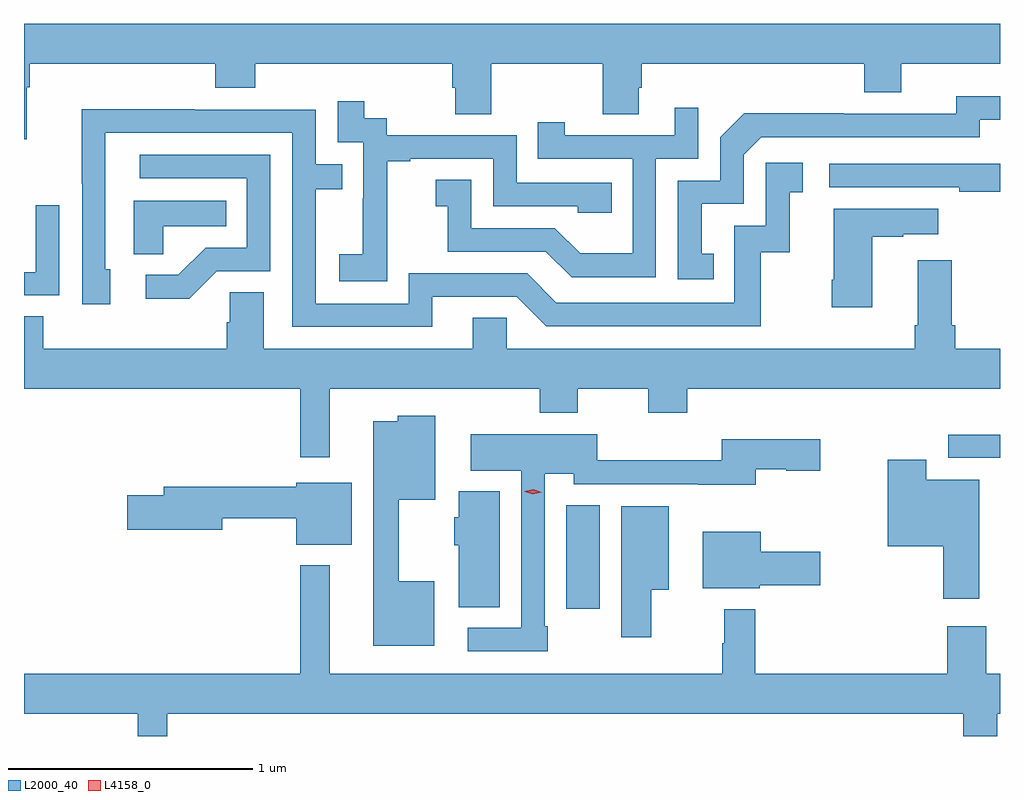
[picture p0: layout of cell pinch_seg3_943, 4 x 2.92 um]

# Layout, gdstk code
import gdstk
lib = gdstk.Library(unit=1e-6, precision=1e-09)
def R(c, l, rs):  # rectangles x0, y0, x1, y1
    for r in rs: c.add(gdstk.rectangle(r[:2], r[2:], *l))
def P(c, l, *ps):  # polygons
    for p in ps: c.add(gdstk.Polygon(p, *l))
L2000_40 = (2000, 40)
L4158_0 = (4158, 0)

pinch_seg3_943 = lib.new_cell('pinch_seg3_943')
R(pinch_seg3_943, L2000_40, [(509.903,714.666,510.04,715.091), (511.467,715.284,511.68,715.38)])
P(pinch_seg3_943, L2000_40, [(507.68,716.591),(507.691,716.591),(507.691,716.804),(507.704,716.804),(507.704,716.9),(508.463,716.9),(508.463,716.801),(508.628,716.801),(508.628,716.9),(509.435,716.9),(509.435,716.802),(509.447,716.802),(509.447,716.692),(509.595,716.692),(509.595,716.9),(510.052,716.9),(510.052,716.692),(510.199,716.692),(510.199,716.802),(510.212,716.802),(510.212,716.9),(511.124,716.9),(511.124,716.783),(511.276,716.783),(511.276,716.9),(511.68,716.9),(511.68,717.064),(507.68,717.064)],
  [(510.506,716.121),(510.457,716.121),(510.457,716.325),(510.63,716.325),(510.63,716.526),(510.702,716.598),(511.596,716.598),(511.596,716.67),(511.68,716.67),(511.68,716.767),(511.5,716.767),(511.5,716.694),(511.04,716.694),(511.04,716.696),(510.632,716.696),(510.534,716.598),(510.534,716.421),(510.36,716.421),(510.36,716.016),(510.506,716.016)],
  [(509.169,716.215),(509.168,716.215),(509.168,716.499),(509.263,716.499),(509.263,716.511),(509.604,716.511),(509.604,716.316),(509.949,716.316),(509.949,716.289),(510.089,716.289),(510.089,716.412),(509.7,716.412),(509.7,716.607),(509.166,716.607),(509.166,716.676),(509.074,716.676),(509.074,716.746),(508.965,716.746),(508.965,716.577),(509.07,716.577),(509.07,716.348),(509.069,716.348),(509.069,716.119),(508.971,716.119),(508.971,716.009),(509.169,716.009)],
  [(510.27,716.511),(510.444,716.511),(510.444,716.719),(510.347,716.719),(510.347,716.607),(509.896,716.607),(509.896,716.659),(509.785,716.659),(509.785,716.511),(510.174,716.511),(510.174,716.122),(509.96,716.122),(509.856,716.226),(509.514,716.226),(509.514,716.425),(509.367,716.425),(509.367,716.315),(509.416,716.315),(509.416,716.13),(509.819,716.13),(509.924,716.025),(510.27,716.025)],
  [(509.353,715.944),(509.7,715.944),(509.82,715.824),(510.7,715.824),(510.7,716.127),(510.818,716.127),(510.818,716.373),(510.871,716.373),(510.871,716.494),(510.72,716.494),(510.72,716.235),(510.591,716.235),(510.591,715.92),(509.862,715.92),(509.742,716.04),(509.256,716.04),(509.256,715.917),(508.875,715.917),(508.875,716.386),(508.985,716.386),(508.985,716.487),(508.875,716.487),(508.875,716.712),(508.379,716.712),(508.379,716.714),(507.916,716.714),(507.916,716.407),(507.918,716.407),(507.918,715.914),(508.033,715.914),(508.033,716.058),(508.014,716.058),(508.014,716.616),(508.779,716.616),(508.779,715.821),(509.353,715.821)],
  [(508.47,716.049),(508.689,716.049),(508.689,716.526),(508.155,716.526),(508.155,716.43),(508.593,716.43),(508.593,716.145),(508.424,716.145),(508.313,716.034),(508.179,716.034),(508.179,715.937),(508.357,715.937)],
  [(511.68,716.49),(510.981,716.49),(510.981,716.394),(511.513,716.394),(511.513,716.374),(511.68,716.374)],
  [(508.251,716.234),(508.508,716.234),(508.508,716.338),(508.13,716.338),(508.13,716.119),(508.251,716.119)],
  [(507.825,716.32),(507.729,716.32),(507.729,716.046),(507.68,716.046),(507.68,715.95),(507.825,715.95)],
  [(511.156,716.191),(511.283,716.191),(511.283,716.201),(511.426,716.201),(511.426,716.305),(510.998,716.305),(510.998,716.014),(510.991,716.014),(510.991,715.902),(511.156,715.902)],
  [(508.933,715.568),(509.794,715.568),(509.794,715.469),(509.949,715.469),(509.949,715.568),(510.238,715.568),(510.238,715.469),(510.398,715.469),(510.398,715.568),(511.68,715.568),(511.68,715.732),(511.496,715.732),(511.496,715.828),(511.483,715.828),(511.483,716.095),(511.343,716.095),(511.343,715.828),(511.331,715.828),(511.331,715.732),(509.658,715.732),(509.658,715.859),(509.519,715.859),(509.519,715.732),(508.663,715.732),(508.663,715.964),(508.524,715.964),(508.524,715.841),(508.511,715.841),(508.511,715.732),(507.758,715.732),(507.758,715.865),(507.68,715.865),(507.68,715.568),(508.812,715.568),(508.812,715.287),(508.933,715.287)],
  [(509.362,714.778),(509.215,714.778),(509.215,715.112),(509.365,715.112),(509.365,715.456),(509.211,715.456),(509.211,715.435),(509.111,715.435),(509.111,714.515),(509.362,714.515)],
  [(509.827,714.595),(509.814,714.595),(509.814,715.22),(509.934,715.22),(509.934,715.176),(510.443,715.176),(510.443,715.175),(510.679,715.175),(510.679,715.238),(510.803,715.238),(510.803,715.231),(510.943,715.231),(510.943,715.36),(510.539,715.36),(510.539,715.274),(510.03,715.274),(510.03,715.381),(509.511,715.381),(509.511,715.232),(509.718,715.232),(509.718,714.588),(509.499,714.588),(509.499,714.492),(509.827,714.492)],
  [(511.594,715.195),(511.378,715.195),(511.378,715.276),(511.22,715.276),(511.22,714.923),(511.448,714.923),(511.448,714.708),(511.594,714.708)],
  [(509.023,715.183),(508.796,715.183),(508.796,715.165),(508.253,715.165),(508.253,715.131),(508.104,715.131),(508.104,714.989),(508.492,714.989),(508.492,715.036),(508.796,715.036),(508.796,714.929),(509.023,714.929)],
  [(509.629,715.147),(509.462,715.147),(509.462,715.041),(509.444,715.041),(509.444,714.927),(509.462,714.927),(509.462,714.673),(509.629,714.673)],
  [(510.25,714.743),(510.322,714.743),(510.322,715.087),(510.128,715.087),(510.128,714.549),(510.25,714.549)],
  [(510.696,714.763),(510.943,714.763),(510.943,714.9),(510.7,714.9),(510.7,714.982),(510.461,714.982),(510.461,714.749),(510.696,714.749)],
  [(508.267,714.236),(511.529,714.236),(511.529,714.143),(511.668,714.143),(511.668,714.236),(511.68,714.236),(511.68,714.4),(511.623,714.4),(511.623,714.595),(511.463,714.595),(511.463,714.4),(510.677,714.4),(510.677,714.664),(510.549,714.664),(510.549,714.524),(510.541,714.524),(510.541,714.4),(508.933,714.4),(508.933,714.844),(508.812,714.844),(508.812,714.4),(507.68,714.4),(507.68,714.236),(508.146,714.236),(508.146,714.143),(508.267,714.143)])
P(pinch_seg3_943, L4158_0, [(509.766,715.135),(509.732,715.146),(509.732,715.146),(509.732,715.147),(509.767,715.155),(509.802,715.144),(509.802,715.144),(509.802,715.144)])

lib.write_gds('pinch_seg3_943.gds')
